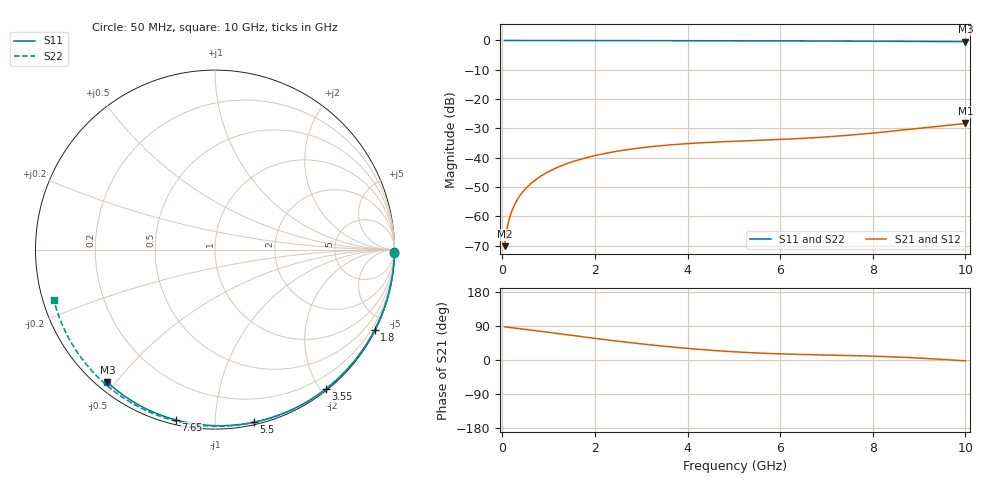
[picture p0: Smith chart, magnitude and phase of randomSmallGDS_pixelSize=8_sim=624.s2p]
! freq	dB(S11)	phase(S11)	dB(S12)	phase(S12)
!  dB(S21)	phase(S21)	dB(S22)	phase(S22)
!S-par simulation data
#  GHz  S  DB  R 50
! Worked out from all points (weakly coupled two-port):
!   200 points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, 50 MHz to 10 GHz, reference 50 ohm
!   highest |S21| = -28.31 dB at 10 GHz (marker M1); lowest = -70.2 dB at 50 MHz (marker M2)
!   lowest |S11| = -0.4 dB at 10 GHz (marker M3), VSWR 40.54, Z = 1.51 - j23.8 ohm
!   |S11| at or under -10 dB: nowhere
!   |S22| runs from -0.5 to 0.0 dB; largest |S21 - S12| = 0
!   S11 on the Smith chart (normalised r, x): 50 MHz: open; 1.8 GHz: 0.04, -4.20; 3.55 GHz: 0.02, -2.07; 5.5 GHz: 0.02, -1.25; 7.65 GHz: 0.02, -0.80; 10 GHz: 0.03, -0.48
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0.05  -0.00 -0.8  -70.18 87.8  -70.18 87.8  -0.00 -1.0
0.1  -0.00 -1.5  -64.32 86.6  -64.32 86.6  -0.00 -1.9
0.15  -0.00 -2.3  -60.90 85.9  -60.90 85.9  -0.00 -2.9
0.2  -0.00 -3.0  -58.46 85.3  -58.46 85.3  -0.00 -3.8
0.35  -0.00 -5.3  -53.67 83.2  -53.67 83.2  -0.00 -6.7
0.5  -0.01 -7.5  -50.62 80.9  -50.62 80.9  -0.01 -9.6
0.7  -0.01 -10.5  -47.75 77.7  -47.75 77.7  -0.01 -13.4
1  -0.02 -15.0  -44.75 72.8  -44.75 72.8  -0.02 -19.0
1.35  -0.03 -20.2  -42.30 67.2  -42.30 67.2  -0.03 -25.6
1.75  -0.03 -26.0  -40.27 60.8  -40.27 60.8  -0.04 -33.0
1.8  -0.03 -26.8  -40.06 60.0  -40.06 60.0  -0.04 -33.9
2.5  -0.05 -36.8  -37.73 49.5  -37.73 49.5  -0.06 -46.5
3.4  -0.07 -49.5  -35.94 37.4  -35.94 37.4  -0.08 -62.3
3.55  -0.07 -51.6  -35.72 35.6  -35.72 35.6  -0.09 -64.8
4.3  -0.09 -61.7  -34.91 27.6  -34.91 27.6  -0.11 -77.4
5.05  -0.11 -71.5  -34.36 21.3  -34.36 21.3  -0.14 -89.4
5.5  -0.13 -77.2  -34.09 18.5  -34.09 18.5  -0.16 -96.4
6.7  -0.18 -91.9  -33.21 13.9  -33.21 13.9  -0.22 -114.5
7.65  -0.23 -103.0  -32.10 11.3  -32.10 11.3  -0.29 -128.4
8.35  -0.28 -110.9  -31.05 8.6  -31.05 8.6  -0.35 -138.5
9.2  -0.35 -120.3  -29.64 3.7  -29.64 3.7  -0.44 -150.7
10  -0.43 -129.0  -28.31 -2.3  -28.31 -2.3  -0.53 -162.5
